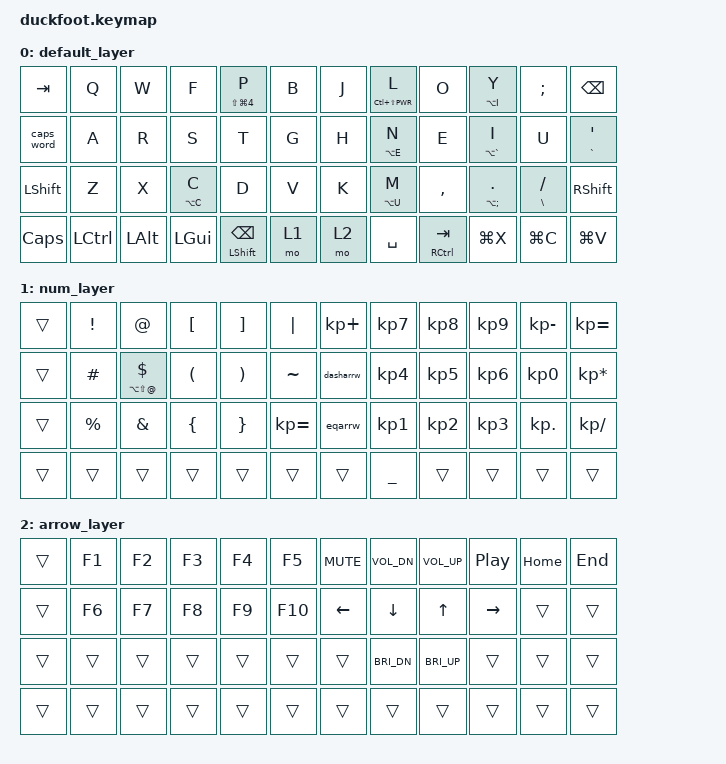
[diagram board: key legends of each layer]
/*
 * Copyright (c) 2020 The ZMK Contributors
 *
 * SPDX-License-Identifier: MIT
 */

#include <behaviors.dtsi>
#include <dt-bindings/zmk/keys.h>
#include <dt-bindings/zmk/bt.h>

&mt {
    tapping-term-ms = <200>;
    flavor = "tap-preferred";
 };
&sk {
     release-after-ms = <2000>;
     quick-release;
 };


/ { 
        behaviors {
	        eqarrw: eqarrw_macro {
		        compatible = "zmk,behavior-macro";
		        label = "EQARRW";
		        #binding-cells = <0>;
		        bindings = <&kp KP_EQUAL>, <&kp GT>;
	        };
	        dasharrw: dasharrw_macro {
		        compatible = "zmk,behavior-macro";
		        label = "DASHARRW";
		        #binding-cells = <0>;
		        bindings = <&kp KP_MINUS>, <&kp GT>;
	        };
        
        };

        combos {
            compatible = "zmk,combos";
            combo_esc {
                timeout-ms = <50>;
                key-positions = <15 16>;
                bindings = <&kp ESC>;
            };
            combo_ent {
                timeout-ms = <50>;
                key-positions = <19 20>;
                bindings = <&kp RET>;
            };
            combo_reset {
                timeout-ms = <50>;
                key-positions = <10 11>;
                bindings = <&bt BT_CLR>;
            };
        };

        keymap {
            compatible = "zmk,keymap";
            default_layer {
		bindings = <
	    &kp TAB		&kp Q		&kp W		&kp F			&mt LS(LG(N4)) P	&kp B	 			&kp J		&mt LC(LS(K_PWR)) L	&kp O			&mt LA(I) Y			&kp SEMI		&kp BSPC
	    &caps_word	&kp A		&kp R		&kp S			&kp T				&kp G	 			&kp H		&mt LA(E) N			&kp E			&mt LA(GRAVE) I		&kp U			&mt GRAVE SQT
	    &kp LSHIFT	&kp Z		&kp X		&mt LA(C) C		&kp D				&kp V	 			&kp K		&mt LA(U) M			&kp COMMA		&mt LA(SEMI) DOT	&mt BSLH FSLH	&kp RSHIFT
	    &kp CAPS	&kp LCTL	&kp LALT	&kp LGUI		&mt LSHIFT BSPC 	&mo 1				&mo 2		&kp SPACE			&mt RCTL TAB	&kp LG(X)			&kp LG(C)		&kp LG(V)
		>;
		};
			num_layer {
		bindings = <
	    &trans	&kp EXCL	&kp AT					&kp LBKT	&kp RBKT	&kp PIPE			&kp KP_PLUS	&kp KP_N7	&kp KP_N8	&kp KP_N9	&kp KP_MINUS	&kp KP_EQUAL
	    &trans	&kp HASH	&mt LA(LS(AT)) DOLLAR	&kp LPAR	&kp RPAR	&kp TILDE			&dasharrw 	&kp KP_N4	&kp KP_N5	&kp KP_N6	&kp KP_N0		&kp KP_MULTIPLY
	    &trans	&kp PERCENT	&kp AMPS				&kp LBRC	&kp RBRC	&kp KP_EQUAL		&eqarrw		&kp KP_N1	&kp KP_N2	&kp KP_N3	&kp KP_DOT		&kp KP_DIVIDE
	    &trans	&trans		&trans					&trans		&trans		&trans 				&trans		&kp UNDER		&trans		&trans		&trans			&trans
		>;
		};
			arrow_layer {
		bindings = <
	    &trans	&kp F1	&kp F2	&kp F3	&kp F4	&kp F5			&kp K_MUTE	&kp C_VOL_DN	&kp C_VOL_UP	&kp C_PP	&kp HOME	&kp END
	    &trans	&kp F6	&kp F7  &kp F8	&kp F9	&kp F10			&kp LEFT	&kp DOWN		&kp UP			&kp RIGHT	&trans		&trans
	    &trans	&trans	&trans	&trans	&trans	&trans			&trans		&kp C_BRI_DN	&kp C_BRI_UP	&trans		&trans		&trans
	    &trans	&trans	&trans	&trans	&trans	&trans			&trans		&trans			&trans			&trans		&trans		&trans
		>;
		};
	};
};
